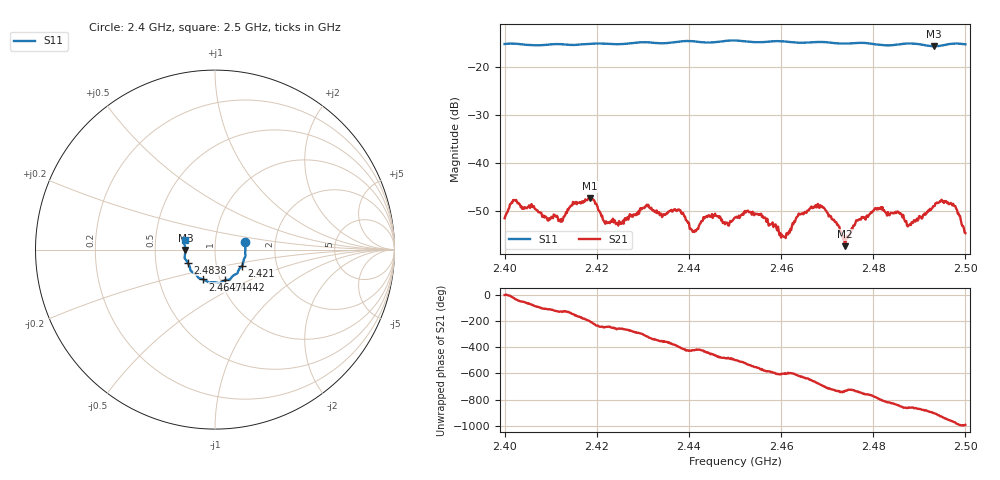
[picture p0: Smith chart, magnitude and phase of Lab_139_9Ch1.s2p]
# Hz S RI R 50
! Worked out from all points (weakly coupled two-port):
!   601 points, 2.4 GHz to 2.5 GHz, reference 50 ohm
!   highest |S21| = -47.31 dB at 2.4185 GHz (marker M1); lowest = -57.3 dB at 2.4738 GHz (marker M2)
!   lowest |S11| = -15.7 dB at 2.4932 GHz (marker M3), VSWR 1.39, Z = 35.8 - j0.112 ohm
!   |S11| at or under -10 dB: start of sweep to end of sweep
!   S12 and S22 are empty: the file has one direction only
!   S11 on the Smith chart (normalised r, x): 2.4 GHz: 1.40, +0.12; 2.421 GHz: 1.33, -0.24; 2.4442 GHz: 1.05, -0.37; 2.4647 GHz: 0.83, -0.28; 2.4838 GHz: 0.73, -0.11; 2.5 GHz: 0.71, +0.08
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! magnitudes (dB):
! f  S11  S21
! 2.4 GHz  -15.2  -51.5
! 2.4022 GHz  -15.1  -47.7
! 2.4122 GHz  -15.2  -52.2
! 2.4167 GHz  -15.3  -48.2
! 2.4185 GHz  -15.2  -47.3
! 2.421 GHz  -15.1  -51.1
! 2.4333 GHz  -15.0  -50.2
! 2.4377 GHz  -14.7  -49.8
! 2.441 GHz  -14.6  -54.3
! 2.4442 GHz  -14.9  -50.9
! 2.45 GHz  -14.5  -51.4
! 2.4552 GHz  -14.8  -50.8
! 2.4605 GHz  -14.7  -55.3
! 2.4647 GHz  -14.9  -50.5
! 2.4667 GHz  -14.8  -49.1
! 2.4738 GHz  -15.1  -57.3
! 2.4833 GHz  -15.5  -50.8
! 2.4838 GHz  -15.5  -50.4
! 2.4878 GHz  -15.1  -52.9
! 2.4932 GHz  -15.7  -49.0
! 2.4973 GHz  -15.1  -48.5
! 2.5 GHz  -15.3  -54.6
